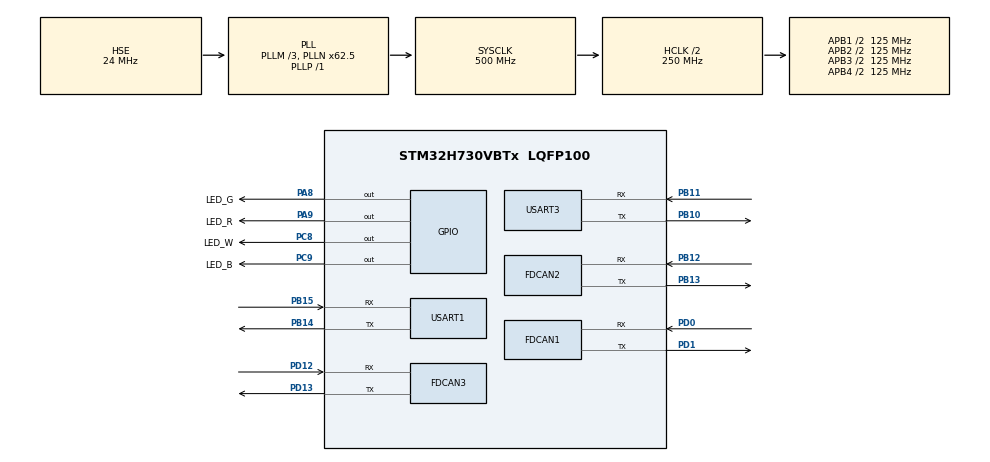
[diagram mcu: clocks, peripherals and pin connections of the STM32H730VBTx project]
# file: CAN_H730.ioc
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Dma.Request0=USART1_TX
Dma.USART1_TX.0.Direction=DMA_MEMORY_TO_PERIPH
Dma.USART1_TX.0.EventEnable=DISABLE
Dma.USART1_TX.0.FIFOMode=DMA_FIFOMODE_DISABLE
Dma.USART1_TX.0.Instance=DMA1_Stream0
Dma.USART1_TX.0.MemDataAlignment=DMA_MDATAALIGN_BYTE
Dma.USART1_TX.0.MemInc=DMA_MINC_ENABLE
Dma.USART1_TX.0.Mode=DMA_NORMAL
Dma.USART1_TX.0.PeriphDataAlignment=DMA_PDATAALIGN_BYTE
Dma.USART1_TX.0.PeriphInc=DMA_PINC_DISABLE
Dma.USART1_TX.0.Polarity=HAL_DMAMUX_REQ_GEN_RISING
Dma.USART1_TX.0.Priority=DMA_PRIORITY_LOW
Dma.USART1_TX.0.RequestNumber=1
Dma.USART1_TX.0.SignalID=NONE
Dma.USART1_TX.0.SyncEnable=DISABLE
Dma.USART1_TX.0.SyncPolarity=HAL_DMAMUX_SYNC_NO_EVENT
Dma.USART1_TX.0.SyncRequestNumber=1
Dma.USART1_TX.0.SyncSignalID=NONE
FDCAN1.CalculateBaudRateNominal=1000000
FDCAN1.CalculateTimeBitNominal=1000
FDCAN1.CalculateTimeQuantumNominal=100.0
FDCAN1.DataPrescaler=10
FDCAN1.DataTimeSeg1=6
FDCAN1.DataTimeSeg2=3
FDCAN1.FrameFormat=FDCAN_FRAME_CLASSIC
FDCAN1.NominalPrescaler=10
FDCAN1.NominalTimeSeg1=6
FDCAN1.NominalTimeSeg2=3
FDCAN1.ProtocolException=ENABLE
FDCAN1.RxFifo0ElmtsNbr=8
FDCAN1.RxFifo1ElmtsNbr=8
FDCAN1.TxFifoQueueElmtsNbr=8
FDCAN2.CalculateBaudRateNominal=1000000
FDCAN2.CalculateTimeBitNominal=1000
FDCAN2.CalculateTimeQuantumNominal=100.0
FDCAN2.DataPrescaler=10
FDCAN2.DataTimeSeg1=6
FDCAN2.DataTimeSeg2=3
FDCAN2.FrameFormat=FDCAN_FRAME_CLASSIC
FDCAN2.MessageRAMOffset=1024
FDCAN2.NominalPrescaler=10
FDCAN2.NominalTimeSeg1=6
FDCAN2.NominalTimeSeg2=3
FDCAN2.ProtocolException=ENABLE
FDCAN2.RxBuffersNbr=0
FDCAN2.RxFifo0ElmtsNbr=8
FDCAN2.RxFifo1ElmtsNbr=8
FDCAN2.TxFifoQueueElmtsNbr=8
FDCAN3.CalculateBaudRateNominal=1000000
FDCAN3.CalculateTimeBitNominal=1000
FDCAN3.CalculateTimeQuantumNominal=100.0
FDCAN3.DataPrescaler=10
FDCAN3.DataTimeSeg1=6
FDCAN3.DataTimeSeg2=3
FDCAN3.FrameFormat=FDCAN_FRAME_CLASSIC
FDCAN3.MessageRAMOffset=2048
FDCAN3.NominalPrescaler=10
FDCAN3.NominalTimeSeg1=6
FDCAN3.NominalTimeSeg2=3
FDCAN3.ProtocolException=ENABLE
FDCAN3.RxFifo0ElmtsNbr=8
FDCAN3.RxFifo1ElmtsNbr=8
FDCAN3.TxFifoQueueElmtsNbr=8
Mcu.Family=STM32H7
Mcu.Name=STM32H730VBTx
Mcu.Package=LQFP100
NVIC.DMA1_Stream0_IRQn=true\:0\:0\:false\:false\:true\:false\:true\:true
NVIC.FDCAN1_IT0_IRQn=true\:0\:0\:false\:false\:true\:true\:true\:true
NVIC.FDCAN1_IT1_IRQn=true\:0\:0\:false\:false\:true\:true\:true\:true
NVIC.FDCAN2_IT0_IRQn=true\:0\:0\:false\:false\:true\:true\:true\:true
NVIC.FDCAN2_IT1_IRQn=true\:0\:0\:false\:false\:true\:true\:true\:true
NVIC.FDCAN3_IT0_IRQn=true\:0\:0\:false\:false\:true\:true\:true\:true
NVIC.FDCAN3_IT1_IRQn=true\:0\:0\:false\:false\:true\:true\:true\:true
NVIC.PriorityGroup=NVIC_PRIORITYGROUP_4
NVIC.USART1_IRQn=true\:0\:0\:false\:false\:true\:true\:true\:true
PA8.GPIO_Label=LED_G
PA8.PinState=GPIO_PIN_SET
PA8.Signal=GPIO_Output
PA9.GPIO_Label=LED_R
PA9.PinState=GPIO_PIN_SET
PA9.Signal=GPIO_Output
PB10.Mode=Asynchronous
PB10.Signal=USART3_TX
PB11.Mode=Asynchronous
PB11.Signal=USART3_RX
PB12.Mode=FDCAN_Activate
PB12.Signal=FDCAN2_RX
PB13.Mode=FDCAN_Activate
PB13.Signal=FDCAN2_TX
PB14.Mode=Asynchronous
PB14.Signal=USART1_TX
PB15.Mode=Asynchronous
PB15.Signal=USART1_RX
PC8.GPIO_Label=LED_W
PC8.PinState=GPIO_PIN_SET
PC8.Signal=GPIO_Output
PC9.GPIO_Label=LED_B
PC9.PinState=GPIO_PIN_SET
PC9.Signal=GPIO_Output
PD0.Mode=FDCAN_Activate
PD0.Signal=FDCAN1_RX
PD1.Mode=FDCAN_Activate
PD1.Signal=FDCAN1_TX
PD12.Mode=FDCAN_Activate
PD12.Signal=FDCAN3_RX
PD13.Mode=FDCAN_Activate
PD13.Signal=FDCAN3_TX
PH0-OSC_IN.Mode=HSE-External-Oscillator
PH0-OSC_IN.Signal=RCC_OSC_IN
PH1-OSC_OUT.Mode=HSE-External-Oscillator
PH1-OSC_OUT.Signal=RCC_OSC_OUT
ProjectManager.HeapSize=0x200
ProjectManager.StackSize=0x400
ProjectManager.TargetToolchain=MDK-ARM V5.32
RCC.ADCFreq_Value=48375000
RCC.APB1Freq_Value=125000000
RCC.APB2Freq_Value=125000000
RCC.APB3Freq_Value=125000000
RCC.APB4Freq_Value=125000000
RCC.CortexFreq_Value=500000000
RCC.D1PPRE=RCC_APB3_DIV2
RCC.D2PPRE1=RCC_APB1_DIV2
RCC.D2PPRE2=RCC_APB2_DIV2
RCC.D3PPRE=RCC_APB4_DIV2
RCC.DIVM1=3
RCC.DIVN1=62
RCC.DIVP1=1
RCC.DIVQ1=5
RCC.HCLKFreq_Value=250000000
RCC.HPRE=RCC_HCLK_DIV2
RCC.HSE_VALUE=24000000
RCC.PLL2FRACN=0
RCC.PLL3FRACN=0
RCC.PLLFRACN=4096
RCC.PLLSourceVirtual=RCC_PLLSOURCE_HSE
RCC.SYSCLKFreq_VALUE=500000000
RCC.SYSCLKSource=RCC_SYSCLKSOURCE_PLLCLK
RCC.USBFreq_Value=100000000
USART1.VirtualMode-Asynchronous=VM_ASYNC
USART3.VirtualMode-Asynchronous=VM_ASYNC
board=custom

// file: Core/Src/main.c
/* USER CODE BEGIN Header */
/**
  ******************************************************************************
  * @file           : main.c
  * @brief          : Main program body
  ******************************************************************************
  * @attention
  *
  * Copyright (c) 2024 STMicroelectronics.
  * All rights reserved.
  *
  * This software is licensed under terms that can be found in the LICENSE file
  * in the root directory of this software component.
  * If no LICENSE file comes with this software, it is provided AS-IS.
  *
  ******************************************************************************
  */
/* USER CODE END Header */
#include "main.h"
#include "dma.h"
#include "fdcan.h"
#include "usart.h"
#include "gpio.h"

/* USER CODE BEGIN Includes */
#include "led.h"
#include "my_can.h"
#include "debug_print.h"

#include "motor.h"
#include "motor_control.h"
#include "motor_config.h"
#include "test_motor.h"
/* USER CODE END Includes */

void SystemClock_Config(void);

int main(void)
{
    /* USER CODE BEGIN 1 */
    uint32_t tick_ctrl = 0;
    uint32_t tick_print = 0;
    /* USER CODE END 1 */

    /* MCU Configuration--------------------------------------------------------*/

    /* Reset of all peripherals, Initializes the Flash interface and the Systick. */
    HAL_Init();

    /* Configure the system clock */
    SystemClock_Config();

    /* Initialize all configured peripherals */
    MX_GPIO_Init();
    MX_DMA_Init();
    MX_USART1_UART_Init();
    MX_USART3_UART_Init();
    MX_FDCAN2_Init();
    MX_FDCAN1_Init();
    MX_FDCAN3_Init();
    /* USER CODE BEGIN 2 */

    can_filter_init(&hfdcan1);
    can_filter_init(&hfdcan2);
    can_filter_init(&hfdcan3);
    /* USER CODE END 2 */

    /* Infinite loop */
    /* USER CODE BEGIN WHILE */
    printf("此工程引脚配置适用于高擎主控板 v1.6 及以上版本\r\n");
    printf("例程版本号："MOTOR_SDK_VERSION"\r\n");
    while (1)
    {
        /* USER CODE END WHILE */

        /* USER CODE BEGIN 3 */
        /* ---- 100Hz: 控制例程调用 (test_motor_control) ---- */
        if (HAL_GetTick() - tick_ctrl >= 10)
        {
            tick_ctrl = HAL_GetTick();
            test_motor_control(1);
        }

        /* ---- 500ms: 终端打印 + LED ---- */
        if (HAL_GetTick() - tick_print >= 500)
        {
            tick_print = HAL_GetTick();
            led_toggle();
            test_motor_print_state();
        }
        motor_process_state_all();

    }
    /* USER CODE END 3 */
}

void SystemClock_Config(void)
{
    RCC_OscInitTypeDef RCC_OscInitStruct = {0};
    RCC_ClkInitTypeDef RCC_ClkInitStruct = {0};

    /** Supply configuration update enable
    */
    HAL_PWREx_ConfigSupply(PWR_LDO_SUPPLY);

    /** Configure the main internal regulator output voltage
    */
    __HAL_PWR_VOLTAGESCALING_CONFIG(PWR_REGULATOR_VOLTAGE_SCALE0);

    while(!__HAL_PWR_GET_FLAG(PWR_FLAG_VOSRDY)) {}

    /** Initializes the RCC Oscillators according to the specified parameters
    * in the RCC_OscInitTypeDef structure.
    */
    RCC_OscInitStruct.OscillatorType = RCC_OSCILLATORTYPE_HSE;
    RCC_OscInitStruct.HSEState = RCC_HSE_ON;
    RCC_OscInitStruct.PLL.PLLState = RCC_PLL_ON;
    RCC_OscInitStruct.PLL.PLLSource = RCC_PLLSOURCE_HSE;
    RCC_OscInitStruct.PLL.PLLM = 3;
    RCC_OscInitStruct.PLL.PLLN = 62;
    RCC_OscInitStruct.PLL.PLLP = 1;
    RCC_OscInitStruct.PLL.PLLQ = 5;
    RCC_OscInitStruct.PLL.PLLR = 2;
    RCC_OscInitStruct.PLL.PLLRGE = RCC_PLL1VCIRANGE_3;
    RCC_OscInitStruct.PLL.PLLVCOSEL = RCC_PLL1VCOWIDE;
    RCC_OscInitStruct.PLL.PLLFRACN = 4096;
    if (HAL_RCC_OscConfig(&RCC_OscInitStruct) != HAL_OK)
    {
        Error_Handler();
    }

    /** Initializes the CPU, AHB and APB buses clocks
    */
    RCC_ClkInitStruct.ClockType = RCC_CLOCKTYPE_HCLK | RCC_CLOCKTYPE_SYSCLK
                                  | RCC_CLOCKTYPE_PCLK1 | RCC_CLOCKTYPE_PCLK2
                                  | RCC_CLOCKTYPE_D3PCLK1 | RCC_CLOCKTYPE_D1PCLK1;
    RCC_ClkInitStruct.SYSCLKSource = RCC_SYSCLKSOURCE_PLLCLK;
    RCC_ClkInitStruct.SYSCLKDivider = RCC_SYSCLK_DIV1;
    RCC_ClkInitStruct.AHBCLKDivider = RCC_HCLK_DIV2;
    RCC_ClkInitStruct.APB3CLKDivider = RCC_APB3_DIV2;
    RCC_ClkInitStruct.APB1CLKDivider = RCC_APB1_DIV2;
    RCC_ClkInitStruct.APB2CLKDivider = RCC_APB2_DIV2;
    RCC_ClkInitStruct.APB4CLKDivider = RCC_APB4_DIV2;

    if (HAL_RCC_ClockConfig(&RCC_ClkInitStruct, FLASH_LATENCY_3) != HAL_OK)
    {
        Error_Handler();
    }
}

void Error_Handler(void)
{
    __disable_irq();
    while (1)
    {
    }
}
